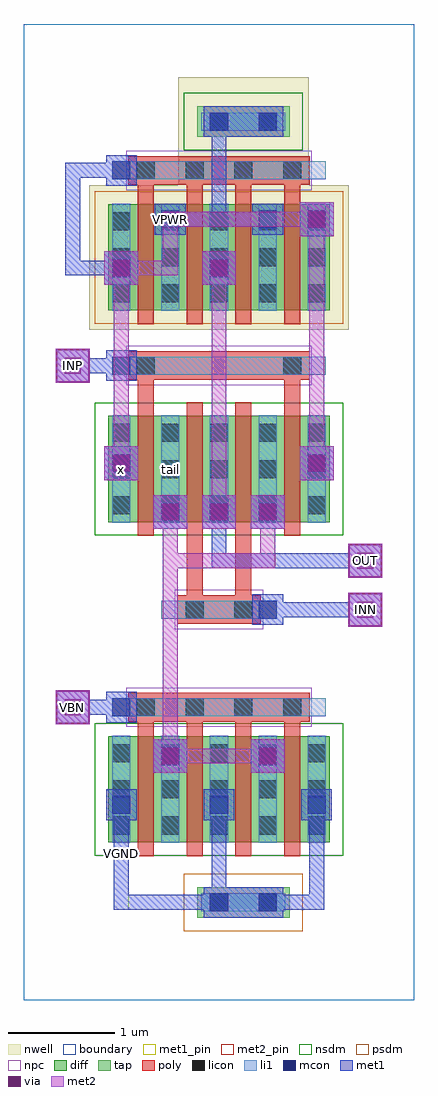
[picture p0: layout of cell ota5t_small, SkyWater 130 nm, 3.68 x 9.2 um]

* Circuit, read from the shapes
.subckt ota5t_small INN INP OUT VBN VGND VPWR tail x
XM1 tail VBN VGND VGND sky130_fd_pr__nfet_01v8 w=1 l=0.15 m=4
XM2 tail INP x VGND sky130_fd_pr__nfet_01v8 w=1 l=0.15 m=2
XM3 OUT INN tail VGND sky130_fd_pr__nfet_01v8 w=1 l=0.15 m=2
XM4 VPWR x x VPWR sky130_fd_pr__pfet_01v8 w=1 l=0.15 m=2
XM5 OUT x VPWR VPWR sky130_fd_pr__pfet_01v8 w=1 l=0.15 m=2
.ends

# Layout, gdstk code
import gdstk
lib = gdstk.Library(unit=1e-6, precision=1e-09)
def R(c, l, rs):  # rectangles x0, y0, x1, y1
    for r in rs: c.add(gdstk.rectangle(r[:2], r[2:], *l))
def A(c, l, x, y, w, h, nx, ny, dx, dy):  # array of equal rectangles
    R(c, l, [(x+i*dx, y+j*dy, x+i*dx+w, y+j*dy+h) for i in range(nx) for j in range(ny)])
nwell = (64, 20)
diff = (65, 20)
tap = (65, 44)
poly = (66, 20)
licon = (66, 44)
li1 = (67, 20)
mcon = (67, 44)
met1_pin = (68, 16)
met1 = (68, 20)
via = (68, 44)
met2_pin = (69, 16)
met2 = (69, 20)
nsdm = (93, 44)
psdm = (94, 20)
npc = (95, 20)
boundary = (235, 4)

ota5t_small = lib.new_cell('ota5t_small')
R(ota5t_small, nwell, [(0.615,6.32,3.065,7.68), (1.455,7.68,2.685,8.7)])
R(ota5t_small, diff, [(0.795,1.485,2.885,2.485), (0.795,4.505,2.885,5.505), (0.795,6.5,2.885,7.5)])
R(ota5t_small, tap, [(1.635,0.775,2.505,1.065), (1.635,8.135,2.505,8.425)])
A(ota5t_small, poly, 1.075, 1.355, 0.15, 1.405, 4, 1, 0.46, 0)
A(ota5t_small, poly, 1.075, 6.37, 0.15, 1.45, 4, 1, 0.46, 0)
R(ota5t_small, poly, [(0.985,2.625,2.695,2.895), (1.445,3.545,2.235,3.815), (1.535,3.68,1.685,5.635), (1.995,3.68,2.145,5.635), (1.075,4.375,1.225,5.98), (2.455,4.375,2.605,5.98), (0.985,5.845,2.695,6.115), (0.985,7.685,2.695,7.955)])
A(ota5t_small, licon, 0.835, 1.56, 0.17, 0.17, 5, 3, 0.46, 0.34)
A(ota5t_small, licon, 1.065, 2.675, 0.17, 0.17, 4, 2, 0.46, 5.06)
A(ota5t_small, licon, 0.835, 4.58, 0.17, 0.17, 5, 3, 0.46, 0.34)
A(ota5t_small, licon, 0.835, 6.575, 0.17, 0.17, 5, 3, 0.46, 0.34)
R(ota5t_small, licon, [(1.755,0.835,1.925,1.005), (2.215,0.835,2.385,1.005), (1.525,3.595,1.695,3.765), (1.985,3.595,2.155,3.765), (1.065,5.895,1.235,6.065), (2.445,5.895,2.615,6.065), (1.755,8.195,1.925,8.365), (2.215,8.195,2.385,8.365)])
A(ota5t_small, li1, 0.835, 1.48, 0.17, 1.01, 5, 2, 0.46, 3.02)
A(ota5t_small, li1, 0.835, 6.495, 0.17, 1.01, 5, 1, 0.46, 0)
R(ota5t_small, li1, [(1.675,0.835,2.465,1.005), (0.835,2.675,2.845,2.845), (1.295,3.595,2.385,3.765), (0.835,5.895,2.845,6.065), (0.835,7.735,2.845,7.905), (1.675,8.195,2.465,8.365)])
A(ota5t_small, mcon, 2.215, 0.835, 0.17, 0.17, 1, 3, 0, 1.38)
A(ota5t_small, mcon, 0.835, 1.755, 0.17, 0.17, 3, 1, 0.92, 0)
A(ota5t_small, mcon, 1.295, 4.515, 0.17, 0.17, 3, 1, 0.46, 0)
A(ota5t_small, mcon, 0.835, 4.975, 0.17, 0.17, 1, 4, 0, 0.92)
R(ota5t_small, mcon, [(1.755,0.835,1.925,1.005), (1.295,2.215,1.465,2.385), (0.835,2.675,1.005,2.845), (2.675,4.975,2.845,5.145), (1.755,6.815,1.925,6.985), (1.295,7.275,1.465,7.445), (2.215,7.275,2.385,7.445), (2.675,7.275,2.845,7.445), (1.755,8.195,1.925,8.365), (2.215,8.195,2.385,8.365)])
R(ota5t_small, met1_pin, [(0.85,0.85,0.99,1.91), (1.235,7.215,1.525,7.505)])
A(ota5t_small, met1, 0.85, 0.85, 0.14, 1.06, 3, 1, 0.92, 0)
A(ota5t_small, met1, 0.775, 1.695, 0.29, 0.29, 3, 1, 0.92, 0)
A(ota5t_small, met1, 1.22, 4.44, 0.32, 0.32, 3, 1, 0.46, 0)
A(ota5t_small, met1, 1.235, 4.455, 0.29, 0.29, 3, 1, 0.46, 0)
A(ota5t_small, met1, 0.775, 4.915, 0.29, 0.29, 1, 4, 0, 0.92)
A(ota5t_small, met1, 0.39, 5.91, 0.6, 0.14, 1, 3, 0, 0.92)
R(ota5t_small, met1, [(1.695,0.775,2.445,1.065), (0.85,0.85,1.91,0.99), (1.77,0.85,2.83,0.99), (1.77,0.85,1.91,0.99), (1.22,2.14,1.54,2.46), (2.14,2.14,2.46,2.46), (1.235,2.155,1.525,2.445), (2.155,2.155,2.445,2.445), (0.3,2.6,0.62,2.92), (0.775,2.615,1.065,2.905), (0.39,2.69,0.99,2.83), (3.06,3.52,3.38,3.84), (2.155,3.535,2.445,3.825), (2.23,3.61,3.29,3.75), (3.06,3.98,3.38,4.3), (1.77,4.07,1.91,4.67), (1.77,4.07,3.29,4.21), (0.76,4.9,1.08,5.22), (2.6,4.9,2.92,5.22), (2.615,4.915,2.905,5.205), (0.3,5.82,0.62,6.14), (0.76,6.74,1.08,7.06), (1.68,6.74,2,7.06), (1.695,6.755,1.985,7.045), (0.39,6.83,0.53,7.89), (2.6,7.2,2.92,7.52), (1.235,7.215,1.525,7.505), (2.155,7.215,2.445,7.505), (2.615,7.215,2.905,7.505), (1.31,7.29,2.37,7.43), (1.77,7.29,1.91,8.35), (1.695,8.135,2.445,8.425), (1.77,8.21,1.91,8.35)])
A(ota5t_small, via, 1.305, 4.525, 0.15, 0.15, 3, 1, 0.46, 0)
R(ota5t_small, via, [(1.305,2.225,1.455,2.375), (2.225,2.225,2.375,2.375), (0.385,2.685,0.535,2.835), (3.145,3.605,3.295,3.755), (3.145,4.065,3.295,4.215), (0.845,4.985,0.995,5.135), (2.685,4.985,2.835,5.135), (0.385,5.905,0.535,6.055), (0.845,6.825,0.995,6.975), (1.765,6.825,1.915,6.975), (2.685,7.285,2.835,7.435)])
R(ota5t_small, met2_pin, [(0.31,2.61,0.61,2.91), (3.07,3.53,3.37,3.83), (3.07,3.99,3.37,4.29), (0.31,5.83,0.61,6.13)])
A(ota5t_small, met2, 1.22, 4.44, 0.32, 0.32, 3, 1, 0.46, 0)
R(ota5t_small, met2, [(1.22,2.14,1.54,2.46), (2.14,2.14,2.46,2.46), (1.31,2.23,1.45,4.67), (1.31,2.23,2.37,2.37), (0.3,2.6,0.62,2.92), (0.31,2.61,0.61,2.91), (0.39,2.69,0.53,2.83), (3.06,3.52,3.38,3.84), (3.07,3.53,3.37,3.83), (3.15,3.61,3.29,3.75), (3.06,3.98,3.38,4.3), (3.07,3.99,3.37,4.29), (1.31,4.07,2.37,4.21), (2.23,4.07,2.37,4.67), (3.15,4.07,3.29,4.21), (1.77,4.53,1.91,6.97), (0.76,4.9,1.08,5.22), (2.6,4.9,2.92,5.22), (0.85,4.99,0.99,6.97), (2.69,4.99,2.83,7.43), (0.3,5.82,0.62,6.14), (0.31,5.83,0.61,6.13), (0.39,5.91,0.53,6.05), (0.76,6.74,1.08,7.06), (1.68,6.74,2,7.06), (0.85,6.83,1.45,6.97), (1.31,6.83,1.45,7.43), (2.6,7.2,2.92,7.52), (1.31,7.29,2.83,7.43)])
R(ota5t_small, nsdm, [(0.67,1.36,3.01,2.61), (0.67,4.38,3.01,5.63), (1.51,8.01,2.63,8.55)])
R(ota5t_small, psdm, [(1.51,0.65,2.63,1.19), (0.67,6.375,3.01,7.625)])
R(ota5t_small, npc, [(0.965,2.575,2.715,2.945), (1.425,3.495,2.255,3.865), (0.965,5.795,2.715,6.165), (0.965,7.635,2.715,8.005)])
R(ota5t_small, boundary, [(0,0,3.68,9.2)])
ota5t_small.add(gdstk.Label('x', (0.92,5.005), layer=67, texttype=5))
ota5t_small.add(gdstk.Label('tail', (1.38,5.005), layer=67, texttype=5))
ota5t_small.add(gdstk.Label('VPWR', (1.38,7.36), layer=68, texttype=5))
ota5t_small.add(gdstk.Label('VGND', (0.92,1.38), layer=68, texttype=5))
ota5t_small.add(gdstk.Label('INP', (0.46,5.98), layer=69, texttype=5))
ota5t_small.add(gdstk.Label('INN', (3.22,3.68), layer=69, texttype=5))
ota5t_small.add(gdstk.Label('VBN', (0.46,2.76), layer=69, texttype=5))
ota5t_small.add(gdstk.Label('OUT', (3.22,4.14), layer=69, texttype=5))
ota5t_small.add(gdstk.Label('VPWR', (1.38,7.36), layer=68, texttype=16))
ota5t_small.add(gdstk.Label('VGND', (0.92,1.38), layer=68, texttype=16))
ota5t_small.add(gdstk.Label('INP', (0.46,5.98), layer=69, texttype=16))
ota5t_small.add(gdstk.Label('INN', (3.22,3.68), layer=69, texttype=16))
ota5t_small.add(gdstk.Label('VBN', (0.46,2.76), layer=69, texttype=16))
ota5t_small.add(gdstk.Label('OUT', (3.22,4.14), layer=69, texttype=16))

lib.write_gds('ota5t_small.gds')
